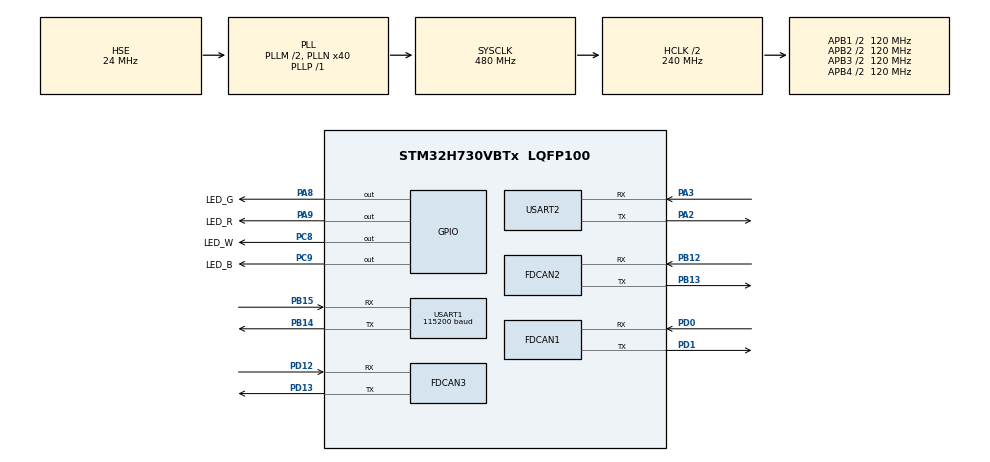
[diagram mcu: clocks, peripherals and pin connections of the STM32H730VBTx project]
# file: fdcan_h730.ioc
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Dma.Request0=USART1_TX
Dma.USART1_TX.0.Direction=DMA_MEMORY_TO_PERIPH
Dma.USART1_TX.0.EventEnable=DISABLE
Dma.USART1_TX.0.FIFOMode=DMA_FIFOMODE_DISABLE
Dma.USART1_TX.0.Instance=DMA1_Stream0
Dma.USART1_TX.0.MemDataAlignment=DMA_MDATAALIGN_BYTE
Dma.USART1_TX.0.MemInc=DMA_MINC_ENABLE
Dma.USART1_TX.0.Mode=DMA_NORMAL
Dma.USART1_TX.0.PeriphDataAlignment=DMA_PDATAALIGN_BYTE
Dma.USART1_TX.0.PeriphInc=DMA_PINC_DISABLE
Dma.USART1_TX.0.Polarity=HAL_DMAMUX_REQ_GEN_RISING
Dma.USART1_TX.0.Priority=DMA_PRIORITY_LOW
Dma.USART1_TX.0.RequestNumber=1
Dma.USART1_TX.0.SignalID=NONE
Dma.USART1_TX.0.SyncEnable=DISABLE
Dma.USART1_TX.0.SyncPolarity=HAL_DMAMUX_SYNC_NO_EVENT
Dma.USART1_TX.0.SyncRequestNumber=1
Dma.USART1_TX.0.SyncSignalID=NONE
FDCAN1.AutoRetransmission=ENABLE
FDCAN1.CalculateBaudRateNominal=1000000
FDCAN1.CalculateTimeBitNominal=1000
FDCAN1.CalculateTimeQuantumNominal=25.0
FDCAN1.DataPrescaler=2
FDCAN1.DataSyncJumpWidth=2
FDCAN1.DataTimeSeg1=5
FDCAN1.DataTimeSeg2=2
FDCAN1.FrameFormat=FDCAN_FRAME_FD_BRS
FDCAN1.NominalPrescaler=2
FDCAN1.NominalSyncJumpWidth=8
FDCAN1.NominalTimeSeg1=31
FDCAN1.NominalTimeSeg2=8
FDCAN1.ProtocolException=ENABLE
FDCAN1.RxBufferSize=FDCAN_DATA_BYTES_64
FDCAN1.RxFifo0ElmtSize=FDCAN_DATA_BYTES_64
FDCAN1.RxFifo0ElmtsNbr=10
FDCAN1.RxFifo1ElmtSize=FDCAN_DATA_BYTES_64
FDCAN1.RxFifo1ElmtsNbr=0
FDCAN1.TxElmtSize=FDCAN_DATA_BYTES_64
FDCAN1.TxFifoQueueElmtsNbr=4
FDCAN2.AutoRetransmission=ENABLE
FDCAN2.CalculateBaudRateNominal=1000000
FDCAN2.CalculateTimeBitNominal=1000
FDCAN2.CalculateTimeQuantumNominal=25.0
FDCAN2.DataPrescaler=2
FDCAN2.DataSyncJumpWidth=2
FDCAN2.DataTimeSeg1=5
FDCAN2.DataTimeSeg2=2
FDCAN2.FrameFormat=FDCAN_FRAME_FD_BRS
FDCAN2.MessageRAMOffset=1024
FDCAN2.NominalPrescaler=2
FDCAN2.NominalSyncJumpWidth=8
FDCAN2.NominalTimeSeg1=31
FDCAN2.NominalTimeSeg2=8
FDCAN2.ProtocolException=ENABLE
FDCAN2.RxBufferSize=FDCAN_DATA_BYTES_64
FDCAN2.RxFifo0ElmtSize=FDCAN_DATA_BYTES_64
FDCAN2.RxFifo0ElmtsNbr=10
FDCAN2.RxFifo1ElmtSize=FDCAN_DATA_BYTES_64
FDCAN2.RxFifo1ElmtsNbr=0
FDCAN2.TxElmtSize=FDCAN_DATA_BYTES_64
FDCAN2.TxFifoQueueElmtsNbr=4
FDCAN3.AutoRetransmission=ENABLE
FDCAN3.CalculateBaudRateNominal=1000000
FDCAN3.CalculateTimeBitNominal=1000
FDCAN3.CalculateTimeQuantumNominal=25.0
FDCAN3.DataPrescaler=2
FDCAN3.DataSyncJumpWidth=2
FDCAN3.DataTimeSeg1=5
FDCAN3.DataTimeSeg2=2
FDCAN3.FrameFormat=FDCAN_FRAME_FD_BRS
FDCAN3.MessageRAMOffset=2048
FDCAN3.NominalPrescaler=2
FDCAN3.NominalSyncJumpWidth=8
FDCAN3.NominalTimeSeg1=31
FDCAN3.NominalTimeSeg2=8
FDCAN3.ProtocolException=ENABLE
FDCAN3.RxBufferSize=FDCAN_DATA_BYTES_64
FDCAN3.RxFifo0ElmtSize=FDCAN_DATA_BYTES_64
FDCAN3.RxFifo0ElmtsNbr=10
FDCAN3.RxFifo1ElmtSize=FDCAN_DATA_BYTES_64
FDCAN3.RxFifo1ElmtsNbr=0
FDCAN3.TxElmtSize=FDCAN_DATA_BYTES_64
FDCAN3.TxFifoQueueElmtsNbr=4
Mcu.Family=STM32H7
Mcu.Name=STM32H730VBTx
Mcu.Package=LQFP100
NVIC.DMA1_Stream0_IRQn=true\:0\:0\:false\:false\:true\:false\:true\:true
NVIC.FDCAN1_IT0_IRQn=true\:0\:0\:true\:false\:true\:true\:true\:true
NVIC.FDCAN1_IT1_IRQn=true\:0\:0\:false\:false\:true\:true\:true\:true
NVIC.FDCAN2_IT0_IRQn=true\:1\:0\:true\:false\:true\:true\:true\:true
NVIC.FDCAN2_IT1_IRQn=true\:1\:0\:true\:false\:true\:true\:true\:true
NVIC.FDCAN3_IT0_IRQn=true\:2\:0\:true\:false\:true\:true\:true\:true
NVIC.FDCAN3_IT1_IRQn=true\:2\:0\:true\:false\:true\:true\:true\:true
NVIC.PriorityGroup=NVIC_PRIORITYGROUP_4
NVIC.USART1_IRQn=true\:0\:0\:false\:false\:true\:true\:true\:true
PA13(JTMS/SWDIO).Signal=DEBUG_JTMS-SWDIO
PA14(JTCK/SWCLK).Signal=DEBUG_JTCK-SWCLK
PA2.Mode=Asynchronous
PA2.Signal=USART2_TX
PA3.Mode=Asynchronous
PA3.Signal=USART2_RX
PA8.GPIO_Label=LED_G
PA8.PinState=GPIO_PIN_SET
PA8.Signal=GPIO_Output
PA9.GPIO_Label=LED_R
PA9.PinState=GPIO_PIN_SET
PA9.Signal=GPIO_Output
PB12.Mode=FDCAN_Activate
PB12.Signal=FDCAN2_RX
PB13.Mode=FDCAN_Activate
PB13.Signal=FDCAN2_TX
PB14.Mode=Asynchronous
PB14.Signal=USART1_TX
PB15.Mode=Asynchronous
PB15.Signal=USART1_RX
PC8.GPIO_Label=LED_W
PC8.PinState=GPIO_PIN_SET
PC8.Signal=GPIO_Output
PC9.GPIO_Label=LED_B
PC9.PinState=GPIO_PIN_SET
PC9.Signal=GPIO_Output
PD0.Mode=FDCAN_Activate
PD0.Signal=FDCAN1_RX
PD1.Mode=FDCAN_Activate
PD1.Signal=FDCAN1_TX
PD12.Mode=FDCAN_Activate
PD12.Signal=FDCAN3_RX
PD13.Mode=FDCAN_Activate
PD13.Signal=FDCAN3_TX
PH0-OSC_IN.Mode=HSE-External-Oscillator
PH0-OSC_IN.Signal=RCC_OSC_IN
PH1-OSC_OUT.Mode=HSE-External-Oscillator
PH1-OSC_OUT.Signal=RCC_OSC_OUT
ProjectManager.HeapSize=0x200
ProjectManager.StackSize=0x400
ProjectManager.TargetToolchain=MDK-ARM V5.32
RCC.ADCFreq_Value=150000000
RCC.APB1Freq_Value=120000000
RCC.APB2Freq_Value=120000000
RCC.APB3Freq_Value=120000000
RCC.APB4Freq_Value=120000000
RCC.CortexFreq_Value=480000000
RCC.D1PPRE=RCC_APB3_DIV2
RCC.D2PPRE1=RCC_APB1_DIV2
RCC.D2PPRE2=RCC_APB2_DIV2
RCC.D3PPRE=RCC_APB4_DIV2
RCC.DIVM1=2
RCC.DIVM2=2
RCC.DIVM3=2
RCC.DIVN1=40
RCC.DIVN2=25
RCC.DIVN3=25
RCC.DIVP1=1
RCC.DIVQ1=6
RCC.DIVQ2=3
RCC.DIVQ3=4
RCC.HCLKFreq_Value=240000000
RCC.HPRE=RCC_HCLK_DIV2
RCC.HSE_VALUE=24000000
RCC.PLL2FRACN=0
RCC.PLL3FRACN=0
RCC.PLLFRACN=0
RCC.PLLSourceVirtual=RCC_PLLSOURCE_HSE
RCC.SYSCLKFreq_VALUE=480000000
RCC.SYSCLKSource=RCC_SYSCLKSOURCE_PLLCLK
RCC.USBFreq_Value=80000000
USART1.BaudRate=115200
USART1.VirtualMode-Asynchronous=VM_ASYNC
USART2.VirtualMode-Asynchronous=VM_ASYNC
board=custom

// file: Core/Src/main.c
/* USER CODE BEGIN Header */
/**
  ******************************************************************************
  * @file           : main.c
  * @brief          : Main program body
  ******************************************************************************
  * @attention
  *
  * Copyright (c) 2024 STMicroelectronics.
  * All rights reserved.
  *
  * This software is licensed under terms that can be found in the LICENSE file
  * in the root directory of this software component.
  * If no LICENSE file comes with this software, it is provided AS-IS.
  *
  ******************************************************************************
  */
/* USER CODE END Header */
#include "main.h"
#include "dma.h"
#include "fdcan.h"
#include "usart.h"
#include "gpio.h"

/* USER CODE BEGIN Includes */
#include "led.h"
#include "my_fdcan.h"
#include "motor_control.h"
#include "motor_config.h"
#include "motor.h"
#include "debug_print.h"

#include "test_motor.h"
#include "test_motor_many.h"

/* USER CODE END Includes */

void SystemClock_Config(void);

int main(void)
{
    /* USER CODE BEGIN 1 */
    uint32_t tick_ctrl  = 0;   /* 控制周期计时 */
    uint32_t tick_print = 0;   /* 终端打印计时 */
    /* USER CODE END 1 */

    /* MCU Configuration--------------------------------------------------------*/

    /* Reset of all peripherals, Initializes the Flash interface and the Systick. */
    HAL_Init();

    /* Configure the system clock */
    SystemClock_Config();

    /* Initialize all configured peripherals */
    MX_GPIO_Init();
    MX_DMA_Init();
    MX_FDCAN1_Init();
    MX_USART1_UART_Init();
    MX_USART2_UART_Init();
    MX_FDCAN2_Init();
    MX_FDCAN3_Init();
    /* USER CODE BEGIN 2 */
    fdcan_filter_init(&hfdcan1);
    fdcan_filter_init(&hfdcan2);
    fdcan_filter_init(&hfdcan3);
    /* USER CODE END 2 */

    /* Infinite loop */
    /* USER CODE BEGIN WHILE */
    printf("此工程引脚配置适用于高擎主控板 v1.6 及以上版本\r\n");
    printf("例程版本号："MOTOR_SDK_VERSION"\r\n");
    while (1)
    {
        /* USER CODE END WHILE */

        /* USER CODE BEGIN 3 */
        /* ---- 100Hz: 控制例程调用 (test_motor_control) ---- */
        if (HAL_GetTick() - tick_ctrl >= 10)
        {
            tick_ctrl = HAL_GetTick();
            test_motor_control(1);
        }

        /* ---- 500ms: 终端打印 + LED ---- */
        if (HAL_GetTick() - tick_print >= 500)
        {
            tick_print = HAL_GetTick();
            led_toggle();
            test_motor_print_state();
        }
        motor_process_state_all();

    }
    /* USER CODE END 3 */
}

void SystemClock_Config(void)
{
    RCC_OscInitTypeDef RCC_OscInitStruct = {0};
    RCC_ClkInitTypeDef RCC_ClkInitStruct = {0};

    /** Supply configuration update enable
    */
    HAL_PWREx_ConfigSupply(PWR_LDO_SUPPLY);

    /** Configure the main internal regulator output voltage
    */
    __HAL_PWR_VOLTAGESCALING_CONFIG(PWR_REGULATOR_VOLTAGE_SCALE0);

    while(!__HAL_PWR_GET_FLAG(PWR_FLAG_VOSRDY)) {}

    /** Initializes the RCC Oscillators according to the specified parameters
    * in the RCC_OscInitTypeDef structure.
    */
    RCC_OscInitStruct.OscillatorType = RCC_OSCILLATORTYPE_HSE;
    RCC_OscInitStruct.HSEState = RCC_HSE_ON;
    RCC_OscInitStruct.PLL.PLLState = RCC_PLL_ON;
    RCC_OscInitStruct.PLL.PLLSource = RCC_PLLSOURCE_HSE;
    RCC_OscInitStruct.PLL.PLLM = 2;
    RCC_OscInitStruct.PLL.PLLN = 40;
    RCC_OscInitStruct.PLL.PLLP = 1;
    RCC_OscInitStruct.PLL.PLLQ = 6;
    RCC_OscInitStruct.PLL.PLLR = 2;
    RCC_OscInitStruct.PLL.PLLRGE = RCC_PLL1VCIRANGE_3;
    RCC_OscInitStruct.PLL.PLLVCOSEL = RCC_PLL1VCOWIDE;
    RCC_OscInitStruct.PLL.PLLFRACN = 0;
    if (HAL_RCC_OscConfig(&RCC_OscInitStruct) != HAL_OK)
    {
        Error_Handler();
    }

    /** Initializes the CPU, AHB and APB buses clocks
    */
    RCC_ClkInitStruct.ClockType = RCC_CLOCKTYPE_HCLK | RCC_CLOCKTYPE_SYSCLK
                                  | RCC_CLOCKTYPE_PCLK1 | RCC_CLOCKTYPE_PCLK2
                                  | RCC_CLOCKTYPE_D3PCLK1 | RCC_CLOCKTYPE_D1PCLK1;
    RCC_ClkInitStruct.SYSCLKSource = RCC_SYSCLKSOURCE_PLLCLK;
    RCC_ClkInitStruct.SYSCLKDivider = RCC_SYSCLK_DIV1;
    RCC_ClkInitStruct.AHBCLKDivider = RCC_HCLK_DIV2;
    RCC_ClkInitStruct.APB3CLKDivider = RCC_APB3_DIV2;
    RCC_ClkInitStruct.APB1CLKDivider = RCC_APB1_DIV2;
    RCC_ClkInitStruct.APB2CLKDivider = RCC_APB2_DIV2;
    RCC_ClkInitStruct.APB4CLKDivider = RCC_APB4_DIV2;

    if (HAL_RCC_ClockConfig(&RCC_ClkInitStruct, FLASH_LATENCY_3) != HAL_OK)
    {
        Error_Handler();
    }
}

void Error_Handler(void)
{
    __disable_irq();
    while (1)
    {
    }
}
